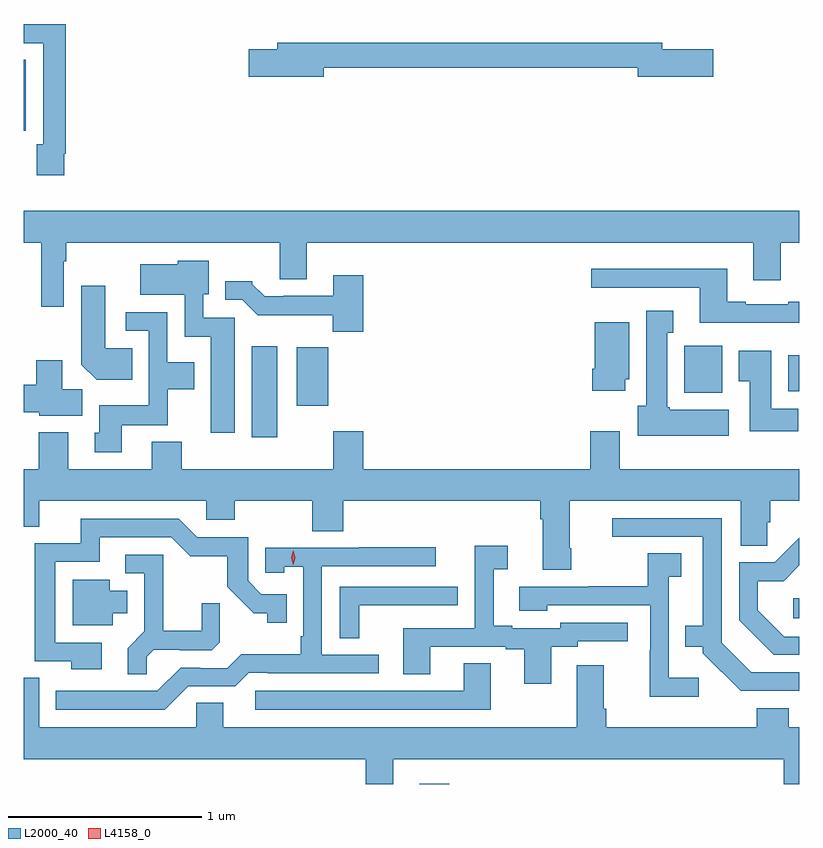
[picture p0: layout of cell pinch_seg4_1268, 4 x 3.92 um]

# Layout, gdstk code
import gdstk
lib = gdstk.Library(unit=1e-6, precision=1e-09)
def R(c, l, rs):  # rectangles x0, y0, x1, y1
    for r in rs: c.add(gdstk.rectangle(r[:2], r[2:], *l))
def P(c, l, *ps):  # polygons
    for p in ps: c.add(gdstk.Polygon(p, *l))
L2000_40 = (2000, 40)
L4158_0 = (4158, 0)

pinch_seg4_1268 = lib.new_cell('pinch_seg4_1268')
R(pinch_seg4_1268, L2000_40, [(349.811,788.7,349.964,788.701), (351.738,789.555,351.77,789.658), (348.947,790.488,349.078,790.957), (351.176,790.718,351.373,790.96), (351.713,790.724,351.77,790.912), (347.77,792.068,347.782,792.434)])
P(pinch_seg4_1268, L2000_40, [(347.98,791.95),(347.987,791.95),(347.987,792.619),(347.77,792.619),(347.77,792.519),(347.871,792.519),(347.871,791.999),(347.837,791.999),(347.837,791.838),(347.98,791.838)],
  [(349.318,792.394),(350.936,792.394),(350.936,792.347),(351.325,792.347),(351.325,792.489),(351.064,792.489),(351.064,792.523),(349.079,792.523),(349.079,792.489),(348.93,792.489),(348.93,792.347),(349.318,792.347)],
  [(347.976,791.396),(347.989,791.396),(347.989,791.492),(349.091,791.492),(349.091,791.302),(349.231,791.302),(349.231,791.492),(351.533,791.492),(351.533,791.298),(351.673,791.298),(351.673,791.492),(351.77,791.492),(351.77,791.656),(347.77,791.656),(347.77,791.492),(347.86,791.492),(347.86,791.16),(347.976,791.16)],
  [(348.859,791.103),(348.696,791.103),(348.696,791.226),(348.724,791.226),(348.724,791.398),(348.564,791.398),(348.564,791.38),(348.372,791.38),(348.372,791.222),(348.6,791.222),(348.6,791.006),(348.734,791.006),(348.734,790.512),(348.859,790.512)],
  [(351.77,791.188),(351.713,791.188),(351.713,791.175),(351.493,791.175),(351.493,791.188),(351.397,791.188),(351.397,791.356),(350.697,791.356),(350.697,791.259),(351.257,791.259),(351.257,791.078),(351.77,791.078)],
  [(349.52,791.323),(349.367,791.323),(349.367,791.217),(349.111,791.217),(349.111,791.214),(349.012,791.214),(348.948,791.278),(348.948,791.293),(348.809,791.293),(348.809,791.196),(348.897,791.196),(348.976,791.118),(349.365,791.118),(349.365,791.033),(349.52,791.033)],
  [(348.329,790.948),(348.19,790.948),(348.19,791.269),(348.068,791.269),(348.068,790.862),(348.146,790.784),(348.329,790.784)],
  [(351.406,790.63),(351.102,790.63),(351.102,790.644),(351.088,790.644),(351.088,791.027),(351.121,791.027),(351.121,791.14),(350.981,791.14),(350.981,790.65),(350.936,790.65),(350.936,790.496),(351.406,790.496)],
  [(348.277,790.55),(348.513,790.55),(348.513,790.736),(348.649,790.736),(348.649,790.876),(348.51,790.876),(348.51,791.133),(348.297,791.133),(348.297,791.037),(348.414,791.037),(348.414,790.654),(348.161,790.654),(348.161,790.512),(348.137,790.512),(348.137,790.41),(348.277,790.41)],
  [(350.872,790.788),(350.893,790.788),(350.893,791.08),(350.714,791.08),(350.714,790.84),(350.702,790.84),(350.702,790.728),(350.872,790.728)],
  [(349.342,790.803),(349.34,790.803),(349.34,790.951),(349.178,790.951),(349.178,790.65),(349.342,790.65)],
  [(351.764,790.636),(351.625,790.636),(351.625,790.933),(351.458,790.933),(351.458,790.777),(351.515,790.777),(351.515,790.518),(351.764,790.518)],
  [(348.073,790.736),(347.968,790.736),(347.968,790.885),(347.834,790.885),(347.834,790.76),(347.77,790.76),(347.77,790.618),(347.85,790.618),(347.85,790.598),(348.073,790.598)],
  [(350.595,789.916),(350.587,789.916),(350.587,790.16),(351.467,790.16),(351.467,789.928),(351.605,789.928),(351.605,790.05),(351.62,790.05),(351.62,790.16),(351.77,790.16),(351.77,790.324),(350.845,790.324),(350.845,790.519),(350.693,790.519),(350.693,790.324),(349.52,790.324),(349.52,790.519),(349.367,790.519),(349.367,790.324),(348.584,790.324),(348.584,790.465),(348.431,790.465),(348.431,790.324),(348.001,790.324),(348.001,790.513),(347.849,790.513),(347.849,790.324),(347.77,790.324),(347.77,790.027),(347.851,790.027),(347.851,790.16),(348.711,790.16),(348.711,790.062),(348.858,790.062),(348.858,790.16),(349.258,790.16),(349.258,790.003),(349.418,790.003),(349.418,790.16),(350.435,790.16),(350.435,790.064),(350.447,790.064),(350.447,789.804),(350.595,789.804)],
  [(351.77,789.276),(351.522,789.276),(351.369,789.429),(351.369,790.071),(350.805,790.071),(350.805,789.975),(351.272,789.975),(351.272,789.517),(351.181,789.517),(351.181,789.407),(351.273,789.407),(351.273,789.375),(351.468,789.18),(351.77,789.18)],
  [(348.172,789.429),(347.934,789.429),(347.934,789.846),(348.163,789.846),(348.163,789.972),(348.531,789.972),(348.63,789.874),(348.819,789.874),(348.819,789.718),(348.956,789.581),(349.026,789.581),(349.026,789.531),(349.127,789.531),(349.127,789.678),(348.996,789.678),(348.927,789.747),(348.927,789.972),(348.666,789.972),(348.57,790.068),(348.065,790.068),(348.065,789.942),(347.826,789.942),(347.826,789.333),(348.016,789.333),(348.016,789.293),(348.172,789.293)],
  [(351.77,789.459),(351.693,789.459),(351.556,789.596),(351.556,789.746),(351.689,789.746),(351.77,789.827),(351.77,789.971),(351.642,789.843),(351.459,789.843),(351.459,789.545),(351.638,789.366),(351.77,789.366)],
  [(350.491,789.408),(350.628,789.408),(350.628,789.435),(350.884,789.435),(350.884,789.531),(350.538,789.531),(350.538,789.504),(350.29,789.504),(350.29,789.517),(350.194,789.517),(350.194,789.808),(350.266,789.808),(350.266,789.928),(350.097,789.928),(350.097,789.504),(349.727,789.504),(349.727,789.265),(349.867,789.265),(349.867,789.408),(350.255,789.408),(350.255,789.396),(350.351,789.396),(350.351,789.216),(350.491,789.216)],
  [(348.618,789.204),(348.861,789.204),(348.93,789.273),(349.03,789.273),(349.03,789.27),(349.6,789.27),(349.6,789.366),(349.308,789.366),(349.308,789.822),(349.894,789.822),(349.894,789.921),(349.501,789.921),(349.501,789.918),(349.017,789.918),(349.017,789.789),(349.113,789.789),(349.113,789.821),(349.212,789.821),(349.212,789.463),(349.2,789.463),(349.2,789.37),(348.892,789.37),(348.819,789.297),(348.68,789.297),(348.68,789.3),(348.579,789.3),(348.459,789.18),(347.936,789.18),(347.936,789.084),(348.498,789.084)],
  [(351.25,789.247),(351.096,789.247),(351.096,789.769),(351.16,789.769),(351.16,789.89),(350.988,789.89),(350.988,789.72),(350.683,789.72),(350.683,789.717),(350.325,789.717),(350.325,789.593),(350.469,789.593),(350.469,789.621),(351,789.621),(351,789.389),(350.998,789.389),(350.998,789.149),(351.25,789.149)],
  [(348.405,789.356),(348.442,789.393),(348.576,789.393),(348.576,789.39),(348.741,789.39),(348.782,789.431),(348.782,789.633),(348.688,789.633),(348.688,789.49),(348.491,789.49),(348.491,789.882),(348.294,789.882),(348.294,789.786),(348.393,789.786),(348.393,789.487),(348.307,789.401),(348.307,789.265),(348.405,789.265)],
  [(348.229,789.581),(348.304,789.581),(348.304,789.697),(348.214,789.697),(348.214,789.754),(348.023,789.754),(348.023,789.518),(348.229,789.518)],
  [(349.5,789.621),(349.895,789.621),(349.895,789.622),(350.008,789.622),(350.008,789.717),(349.401,789.717),(349.401,789.451),(349.5,789.451)],
  [(350.179,789.323),(350.039,789.323),(350.039,789.18),(348.963,789.18),(348.963,789.084),(350.179,789.084)],
  [(349.675,788.828),(351.689,788.828),(351.689,788.7),(351.77,788.7),(351.77,788.992),(351.716,788.992),(351.716,789.091),(351.551,789.091),(351.551,788.992),(350.774,788.992),(350.774,789.088),(350.761,789.088),(350.761,789.313),(350.621,789.313),(350.621,788.992),(348.799,788.992),(348.799,789.119),(348.66,789.119),(348.66,788.992),(347.851,788.992),(347.851,789.248),(347.77,789.248),(347.77,788.828),(349.535,788.828),(349.535,788.7),(349.675,788.7)])
P(pinch_seg4_1268, L4158_0, [(349.16,789.83),(349.159,789.831),(349.15,789.867),(349.161,789.903),(349.161,789.903),(349.161,789.903),(349.17,789.866),(349.16,789.831)])

lib.write_gds('pinch_seg4_1268.gds')
